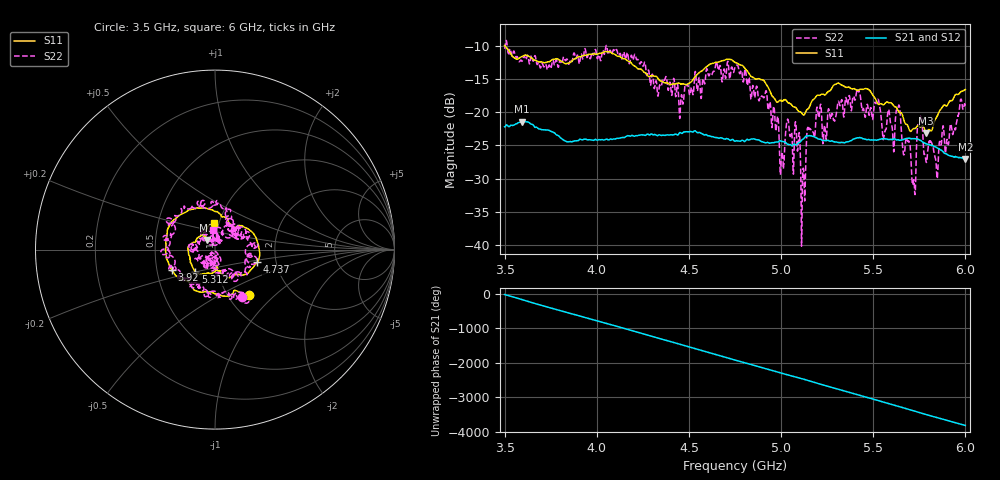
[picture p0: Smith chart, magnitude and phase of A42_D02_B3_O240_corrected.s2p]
! Created with skrf 1.9.0 (http://scikit-rf.org).
# Hz S RI R 50.0
!freq ReS11 ImS11 ReS21 ImS21 ReS12 ImS12 ReS22 ImS22
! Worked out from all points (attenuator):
!   1601 points, 3.5 GHz to 6 GHz, reference 50 ohm
!   highest |S21| = -21.40 dB at 3.594 GHz (marker M1); lowest = -27.0 dB at 6 GHz (marker M2)
!   lowest |S11| = -23.1 dB at 5.787 GHz (marker M3), VSWR 1.15, Z = 45.5 + j4.96 ohm
!   |S11| at or under -10 dB: 3.502 GHz to end of sweep
!   |S22| runs from -40.2 to -9.2 dB; largest |S21 - S12| = 0.0009
!   S11 on the Smith chart (normalised r, x): 3.5 GHz: 1.25, -0.71; 3.92 GHz: 0.60, -0.15; 4.737 GHz: 1.59, -0.24; 5.312 GHz: 0.78, -0.20; 6 GHz: 0.95, +0.29
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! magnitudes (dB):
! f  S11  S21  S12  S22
! 3.5 GHz  -9.9  -22.2  -22.2  -10.4
! 3.594 GHz  -11.6  -21.4  -21.4  -12.3
! 3.917 GHz  -11.6  -24.1  -24.1  -11.2
! 3.92 GHz  -11.5  -24.2  -24.1  -11.5
! 4.334 GHz  -15.0  -23.5  -23.4  -17.3
! 4.458 GHz  -15.8  -23.1  -23.1  -17.7
! 4.737 GHz  -12.2  -24.1  -24.2  -13.6
! 4.75 GHz  -12.5  -24.4  -24.3  -13.2
! 4.928 GHz  -16.2  -24.6  -24.5  -19.3
! 5.005 GHz  -18.2  -24.4  -24.4  -26.0
! 5.034 GHz  -18.5  -24.8  -24.7  -21.2
! 5.088 GHz  -19.6  -24.8  -24.8  -25.6
! 5.119 GHz  -20.4  -24.1  -24.0  -28.7
! 5.147 GHz  -19.5  -23.6  -23.6  -22.5
! 5.167 GHz  -18.3  -23.6  -23.6  -23.0
! 5.312 GHz  -15.6  -24.6  -24.5  -18.4
! 5.584 GHz  -18.6  -24.1  -24.1  -19.6
! 5.638 GHz  -19.9  -24.2  -24.1  -19.0
! 5.719 GHz  -22.5  -24.0  -23.9  -30.4
! 5.752 GHz  -22.2  -24.2  -24.2  -21.7
! 5.787 GHz  -23.1  -24.8  -24.7  -27.5
! 6 GHz  -16.6  -27.0  -27.0  -19.2
